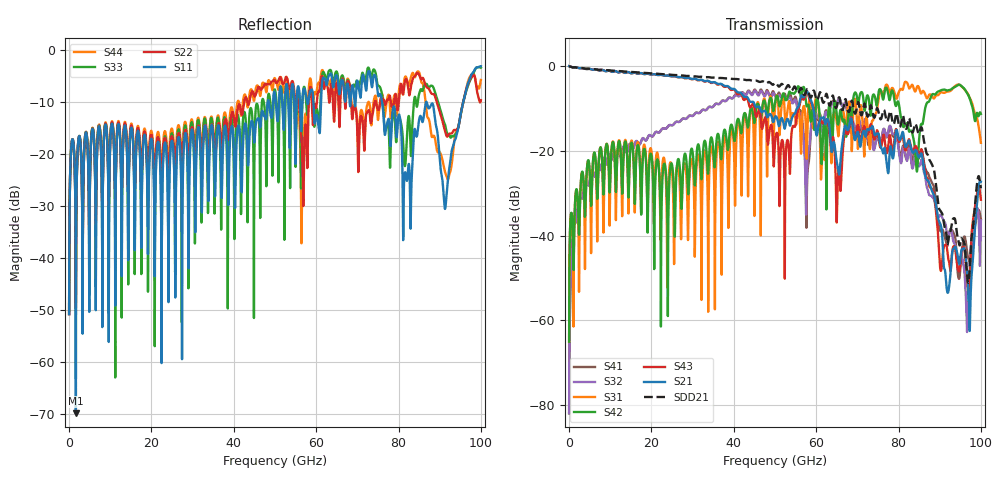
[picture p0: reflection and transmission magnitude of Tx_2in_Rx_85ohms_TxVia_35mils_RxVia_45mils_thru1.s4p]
! Info: Touchstone file created by Circ.  Input file=Tx_2in_Rx_85ohms_TxVia_35mils_RxVia_45mils.circ
# Hz S RI R 50
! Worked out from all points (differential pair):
!   10000 points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, 10 MHz to 100 GHz, reference 50 ohm
!   strongest paths, dB at 10 MHz, 25.01 GHz, 50.01 GHz, 75.01 GHz, 100 GHz:
!     S21: 0.0, -2.4, -12.0, -15.9, -27.3
!     S43: 0.0, -2.5, -18.2, -16.0, -31.5
!     S42: -65.0, -23.3, -8.5, -7.1, -11.3
!     S31: -65.0, -25.0, -9.8, -8.6, -18.1
!     S32: -81.9, -14.0, -7.1, -17.2, -36.4
!     S41: -81.9, -14.0, -6.8, -15.7, -36.1
!   taken as a pair (ports 1,3 in; 2,4 out), SDD21 dB: 0.0, -2.1, -4.0, -10.3, -28.8
!   lowest |S11| = -69.9 dB at 1.65 GHz (marker M1), VSWR 1.00, Z = 50 + j0.00461 ohm
!   |S11| at or under -10 dB: start of sweep to 48.23 GHz; 59.32 GHz to 61.15 GHz (1.833 GHz wide, 3.04 % of centre); 75.97 GHz to 95.74 GHz (19.77 GHz wide, 23 % of centre) (the widest 3 of 13)
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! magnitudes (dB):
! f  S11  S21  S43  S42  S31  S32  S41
! 10 MHz  -50.8  0.0  0.0  -65.0  -65.0  -81.9  -81.9
! 1.65 GHz  -69.9  -0.3  -0.3  -29.6  -29.7  -36.7  -36.7
! 45.17 GHz  -16.0  -9.4  -11.1  -12.3  -17.9  -5.8  -5.6
! 80.96 GHz  -24.0  -15.6  -16.4  -13.3  -5.6  -20.3  -19.2
! 91.95 GHz  -25.5  -53.5  -44.7  -5.7  -6.0  -40.4  -42.1
! 97.21 GHz  -5.7  -60.7  -54.2  -7.4  -7.3  -48.9  -46.2
! 100 GHz  -3.2  -27.3  -31.5  -11.3  -18.1  -36.4  -36.1
